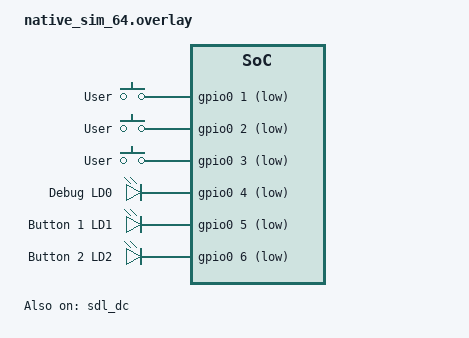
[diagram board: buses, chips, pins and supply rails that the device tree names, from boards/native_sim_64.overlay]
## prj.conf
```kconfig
CONFIG_STDOUT_CONSOLE=y

CONFIG_HEAP_MEM_POOL_SIZE=16384

CONFIG_DISPLAY=y

CONFIG_LOG=y

CONFIG_CFB_LOG_LEVEL_INF=y
CONFIG_CHARACTER_FRAMEBUFFER=y

CONFIG_DISPLAY_LOG_LEVEL_DBG=y

CONFIG_GPIO=y

CONFIG_SHELL=y
```

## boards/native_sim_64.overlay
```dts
/*
 * Copyright (c) 2024, Eve Redero
 *
 * SPDX-License-Identifier: Apache-2.0
 */

#include <zephyr/dt-bindings/input/input-event-codes.h>
#include <zephyr/dt-bindings/lvgl/lvgl.h>

/ {
	gpio_keys {
		compatible = "gpio-keys";
		right_button: button_0 {
			label = "User";
			gpios = <&gpio0 1 GPIO_ACTIVE_LOW>;
			zephyr,code = <INPUT_KEY_RIGHT>;
		};
		left_button: button_1 {
			label = "User";
			gpios = <&gpio0 2 GPIO_ACTIVE_LOW>;
			zephyr,code = <INPUT_KEY_LEFT>;
		};
		rot_button: button_2 {
			label = "User";
			gpios = <&gpio0 3 GPIO_ACTIVE_LOW>;
			zephyr,code = <INPUT_KEY_ENTER>;
		};
	};
	leds {
		debug_led: led_0 {
			gpios = <&gpio0 4 GPIO_ACTIVE_LOW>;
			label = "Debug LD0";
		};
		button1_led: led_1 {
			gpios = <&gpio0 5 GPIO_ACTIVE_LOW>;
			label = "Button 1 LD1";
		};
		button2_led: led_2 {
			gpios = <&gpio0 6 GPIO_ACTIVE_LOW>;
			label = "Button 2 LD2";
		};
	};
};


&gpio0 {
	ngpios = <6>;

	sdl_gpio {
		status = "okay";
		compatible = "zephyr,gpio-emul-sdl";
		/* Scancodes correspond to USB HID decimal codes */
		/* not the usual AT-101 input codes. */
		/* Here, we map Left, Right, Enter */
		/* from HID keybord to GPIO0 1 to 3 */
		/* 79: Right, 80: Left, 40: Enter */
		scancodes = <79 80 40 2 3 4>;
	};
};

&sdl_dc {
        compatible = "zephyr,sdl-dc";
        status = "okay";
        height = <64>;
        width = <128>;
};
```

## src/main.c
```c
/*
 * Copyright (c) 2018 PHYTEC Messtechnik GmbH
 *
 * SPDX-License-Identifier: Apache-2.0
 */

#include <zephyr/kernel.h>
#include <zephyr/device.h>
#include <zephyr/display/cfb.h>
#include <zephyr/drivers/gpio.h>
#include <stdio.h>

int main(void)
{
	const struct device *dev;
	uint16_t x_res;
	uint16_t y_res;
	uint16_t rows;
	uint8_t ppt;
	uint8_t font_width;
	uint8_t font_height;
	int ret;

	dev = DEVICE_DT_GET(DT_CHOSEN(zephyr_display));
	if (!device_is_ready(dev)) {
		printf("Device %s not ready\n", dev->name);
		return 0;
	}

	if (display_set_pixel_format(dev, PIXEL_FORMAT_MONO10) != 0) {
		if (display_set_pixel_format(dev, PIXEL_FORMAT_MONO01) != 0) {
			printf("Failed to set required pixel format");
			return 0;
		}
	}

	printf("Initialized %s\n", dev->name);

	if (cfb_framebuffer_init(dev)) {
		printf("Framebuffer initialization failed!\n");
		return 0;
	}

	cfb_framebuffer_clear(dev, true);

	display_blanking_off(dev);

	x_res = cfb_get_display_parameter(dev, CFB_DISPLAY_WIDTH);
	y_res = cfb_get_display_parameter(dev, CFB_DISPLAY_HEIGH);
	rows = cfb_get_display_parameter(dev, CFB_DISPLAY_ROWS);
	ppt = cfb_get_display_parameter(dev, CFB_DISPLAY_PPT);

	for (int idx = 0; idx < 42; idx++) {
		if (cfb_get_font_size(dev, idx, &font_width, &font_height)) {
			break;
		}
		cfb_framebuffer_set_font(dev, idx);
		printf("font width %d, font height %d, %d\n",
		       font_width, font_height, idx);
	}
	cfb_framebuffer_set_font(dev, 0);


	printf("x_res %d, y_res %d, ppt %d, rows %d, cols %d\n",
	       x_res,
	       y_res,
	       ppt,
	       rows,
	       cfb_get_display_parameter(dev, CFB_DISPLAY_COLS));

	cfb_framebuffer_invert(dev);

	cfb_set_kerning(dev, 0);
	cfb_print(dev, "Welcome to RederoTech", 0, 0);
	cfb_print(dev, "Life is great", 0, 18 * 2);
	cfb_invert_area(dev, 0, 18*2, 128, 18*3);
	cfb_framebuffer_finalize(dev);

	k_sleep(K_MSEC(2000));
	display_blanking_on(dev);
	k_sleep(K_MSEC(2000));
	display_blanking_off(dev);
	return 0;
}
```
